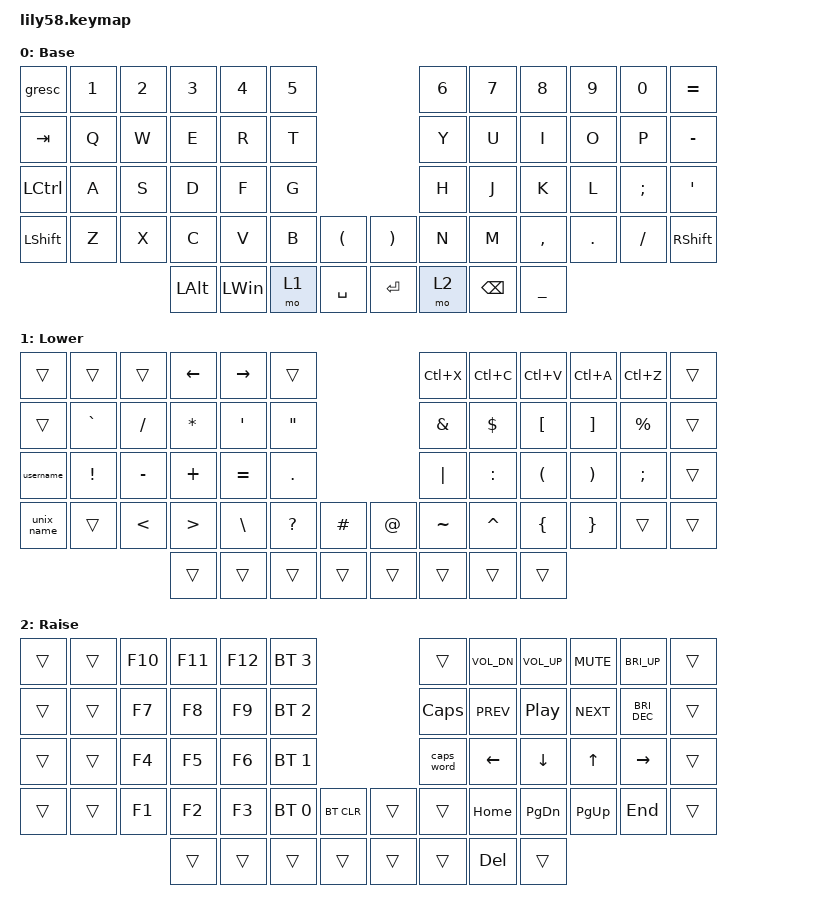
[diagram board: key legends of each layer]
/*
 * Copyright (c) 2020 The ZMK Contributors
 *
 * SPDX-License-Identifier: MIT
 */

#include <behaviors.dtsi>
#include <dt-bindings/zmk/bt.h>
#include <dt-bindings/zmk/keys.h>

/ {
    macros {
        username: username {
            compatible = "zmk,behavior-macro";
            #binding-cells = <0>;
            bindings = <&kp F &kp A &kp L &kp L &kp O &kp W &kp N6 &kp N4>;
            label = "USERNAME";
        };

        unix_name: unix_name {
            compatible = "zmk,behavior-macro";
            #binding-cells = <0>;
            bindings = <&kp A &kp U &kp S &kp T &kp I &kp N>;
            label = "UNIX_NAME";
        };
    };

    keymap {
        compatible = "zmk,keymap";

        default_layer {
            // ------------------------------------------------------------------------------------------------------------
            // |  ESC  |  1  |  2  |  3   |  4   |  5   |                   |  6   |  7    |  8    |  9   |   0   |   `   |
            // |  TAB  |  Q  |  W  |  E   |  R   |  T   |                   |  Y   |  U    |  I    |  O   |   P   |   -   |
            // |  CTRL |  A  |  S  |  D   |  F   |  G   |                   |  H   |  J    |  K    |  L   |   ;   |   '   |
            // | SHIFT |  Z  |  X  |  C   |  V   |  B   |   "["  |  |  "]"  |  N   |  M    |  ,    |  .   |   /   | SHIFT |
            //                     | ALT  | GUI  | LOWER|  SPACE |  | ENTER | RAISE| BSPC  | GUI   |

            display-name = "Base";
            bindings = <
&gresc     &kp N1  &kp N2  &kp N3    &kp N4    &kp N5                         &kp N6  &kp N7    &kp N8          &kp N9   &kp N0    &kp EQUAL
&kp TAB    &kp Q   &kp W   &kp E     &kp R     &kp T                          &kp Y   &kp U     &kp I           &kp O    &kp P     &kp MINUS
&kp LCTRL  &kp A   &kp S   &kp D     &kp F     &kp G                          &kp H   &kp J     &kp K           &kp L    &kp SEMI  &kp SQT
&kp LSHFT  &kp Z   &kp X   &kp C     &kp V     &kp B   &kp LPAR     &kp RPAR  &kp N   &kp M     &kp COMMA       &kp DOT  &kp FSLH  &kp RSHFT
                           &kp LALT  &kp LWIN  &mo 1   &kp SPACE    &kp RET   &mo 2   &kp BSPC  &kp UNDERSCORE
            >;
        };

        lower_layer {
            // ------------------------------------------------------------------------------------------------------------
            // |       |     |     |      |      |      |                   |      |       |       |      |       |       |
            // |   `   |  1  |  2  |  3   |  4   |  5   |                   |  6   |   7   |   8   |  9   |   0   |       |
            // |   F1  |  F2 |  F3 |  F4  |  F5  |  F6  |                   |      |   <-  |   v   |  ^   |  ->   |       |
            // |   F7  |  F8 |  F9 |  F10 |  F11 |  F12 |        |  |       |  +   |   -   |   =   |  [   |   ]   |   \   |
            //                     |      |      |      |        |  |       |      |       |       |

            display-name = "Lower";
            bindings = <
&trans      &trans     &trans         &kp LEFT          &kp RIGHT         &trans                                 &kp LC(X)  &kp LC(C)   &kp LC(V)         &kp LC(A)          &kp LC(Z)    &trans
&trans      &kp GRAVE  &kp SLASH      &kp STAR          &kp SINGLE_QUOTE  &kp DOUBLE_QUOTES                      &kp AMPS   &kp DOLLAR  &kp LEFT_BRACKET  &kp RIGHT_BRACKET  &kp PERCENT  &trans
&username   &kp EXCL   &kp MINUS      &kp PLUS          &kp EQUAL         &kp DOT                                &kp PIPE   &kp COLON   &kp LPAR          &kp RPAR           &kp SEMI     &trans
&unix_name  &trans     &kp LESS_THAN  &kp GREATER_THAN  &kp BACKSLASH     &kp QUESTION       &kp HASH    &kp AT  &kp TILDE  &kp CARET   &kp LBRC          &kp RBRC           &trans       &trans
                                      &trans            &trans            &trans             &trans      &trans  &trans     &trans      &trans
            >;
        };

        raise_layer {
            // ------------------------------------------------------------------------------------------------------------
            // | BTCLR | BT1 | BT2 |  BT3 |  BT4 |  BT5 |                   |      |       |       |      |       |       |
            // |  F1   |  F2 |  F3 |  F4  |  F5  |  F6  |                   |  F7  |  F8   |  F9   |  F10 |  F11  |  F12  |
            // |   `   |  !  |  @  |  #   |  $   |  %   |                   |  ^   |  &    |  *    |  (   |   )   |   ~   |
            // |       |     |     |      |      |      |        |  |       |      |  _    |  +    |  {   |   }   |  "|"  |
            //                     |      |      |      |        |  |       |      |       |       |

            display-name = "Raise";
            bindings = <
&trans  &trans  &kp F10  &kp F11  &kp F12  &bt BT_SEL 3                        &trans      &kp C_VOL_DN  &kp C_VOL_UP   &kp K_MUTE   &kp C_BRI_UP   &trans
&trans  &trans  &kp F7   &kp F8   &kp F9   &bt BT_SEL 2                        &kp CAPS    &kp C_PREV    &kp C_PP       &kp C_NEXT   &kp C_BRI_DEC  &trans
&trans  &trans  &kp F4   &kp F5   &kp F6   &bt BT_SEL 1                        &caps_word  &kp LEFT      &kp DOWN       &kp UP       &kp RIGHT      &trans
&trans  &trans  &kp F1   &kp F2   &kp F3   &bt BT_SEL 0  &bt BT_CLR    &trans  &trans      &kp HOME      &kp PAGE_DOWN  &kp PAGE_UP  &kp END        &trans
                         &trans   &trans   &trans        &trans        &trans  &trans      &kp DELETE    &trans
            >;
        };
    };
};
